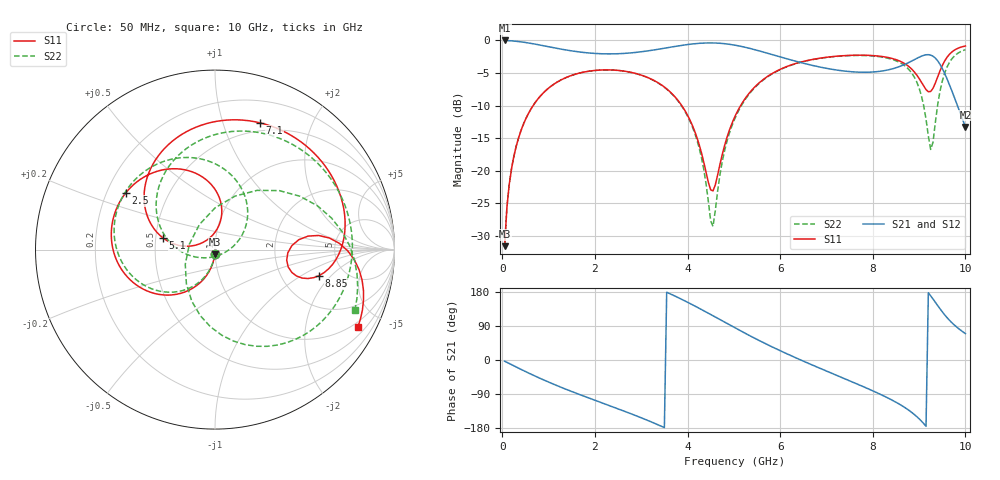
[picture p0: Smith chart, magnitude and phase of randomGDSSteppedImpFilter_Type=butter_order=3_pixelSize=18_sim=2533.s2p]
! freq	dB(S11)	phase(S11)	dB(S12)	phase(S12)
!  dB(S21)	phase(S21)	dB(S22)	phase(S22)
!S-par simulation data
#  GHz  S  DB  R 50
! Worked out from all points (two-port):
!   200 points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, 50 MHz to 10 GHz, reference 50 ohm
!   highest |S21| = -0.01 dB at 50 MHz (marker M1); lowest = -13.3 dB at 10 GHz (marker M2)
!   |S21| within 3 dB of the highest: start of sweep to 6.239 GHz; 8.883 GHz to 9.387 GHz (503.5 MHz wide, 5.51 % of centre)
!   lowest |S11| = -31.6 dB at 50 MHz (marker M3), VSWR 1.05, Z = 49.8 - j2.63 ohm
!   |S11| at or under -10 dB: start of sweep to 665.6 MHz; 3.875 GHz to 5.147 GHz (1.272 GHz wide, 28.2 % of centre)
!   |S22| runs from -31.6 to -1.4 dB; largest |S21 - S12| = 0
!   S11 on the Smith chart (normalised r, x): 50 MHz: 1.00, -0.05; 2.5 GHz: 0.28, +0.27; 5.1 GHz: 0.55, +0.08; 7.1 GHz: 0.41, +1.33; 8.85 GHz: 3.26, -1.47; 10 GHz: 0.78, -3.78
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0.05  -31.56 -93.1  -0.01 -3.1  -0.01 -3.1  -31.57 -93.3
0.2  -19.65 -102.4  -0.07 -12.4  -0.07 -12.4  -19.65 -103.3
0.5  -12.14 -119.8  -0.32 -30.5  -0.32 -30.5  -12.14 -122.1
1.05  -7.04 -149.0  -1.04 -60.9  -1.04 -60.9  -7.04 -153.9
1.75  -4.87 178.9  -1.84 -94.9  -1.84 -94.9  -4.88 170.3
2.5  -4.60 147.5  -2.04 -128.9  -2.04 -128.9  -4.61 134.1
3.4  -6.66 108.7  -1.32 -172.9  -1.32 -172.9  -6.68 86.3
4.15  -13.84 79.4  -0.51 143.0  -0.51 143.0  -14.12 33.6
4.55  -23.09 132.6  -0.39 116.7  -0.39 116.7  -28.53 -84.3
4.75  -17.50 171.3  -0.47 103.2  -0.47 103.2  -18.58 -159.7
5.05  -11.28 169.4  -0.76 83.2  -0.76 83.2  -11.54 169.0
5.1  -10.59 167.5  -0.83 79.9  -0.83 79.9  -10.81 164.9
5.85  -4.98 131.0  -2.22 33.2  -2.22 33.2  -5.04 112.1
6.7  -2.92 89.3  -3.84 -13.6  -3.84 -13.6  -2.94 61.9
7.1  -2.50 70.4  -4.41 -34.3  -4.41 -34.3  -2.53 40.1
7.75  -2.26 39.6  -4.88 -67.9  -4.88 -67.9  -2.31 5.0
8.35  -2.65 10.3  -4.49 -101.6  -4.49 -101.6  -2.78 -30.2
8.85  -4.47 -14.0  -3.13 -139.1  -3.13 -139.1  -5.10 -72.3
9.25  -7.83 -2.6  -2.25 169.4  -2.25 169.4  -16.72 167.4
9.45  -4.69 7.8  -3.65 135.4  -3.65 135.4  -7.85 54.6
9.7  -1.82 -7.9  -7.59 99.3  -7.59 99.3  -2.90 8.0
10  -0.86 -28.6  -13.27 69.8  -13.27 69.8  -1.42 -23.3
